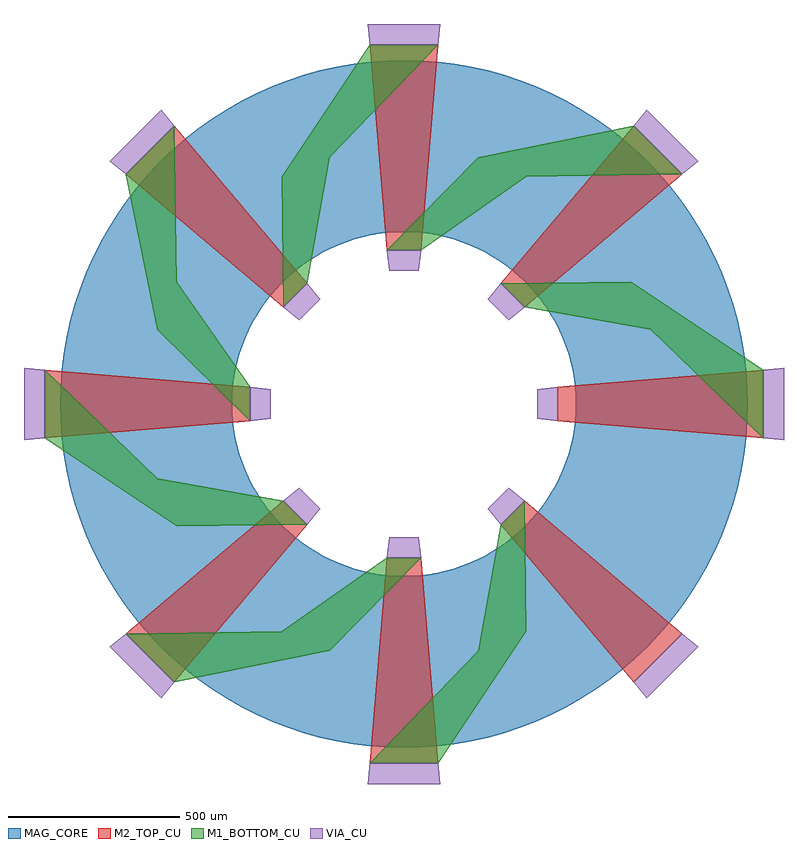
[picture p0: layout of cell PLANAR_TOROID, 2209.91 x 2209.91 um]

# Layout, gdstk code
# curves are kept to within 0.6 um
import gdstk
lib = gdstk.Library(unit=1e-6, precision=1e-09)
def P(c, l, *ps):  # polygons
    for p in ps: c.add(gdstk.Polygon(p, *l))
M1_BOTTOM_CU = (1, 0)
VIA_CU = (2, 0)
M2_TOP_CU = (3, 0)
MAG_CORE = (10, 0)

planar_toroid = lib.new_cell('PLANAR_TOROID')
P(planar_toroid, M1_BOTTOM_CU, [(1045.227,-100),(718.138,216.283),(351.583,280.872),(280.872,351.583),(660.735,354.865),(1045.227,100)],
  [(-447.214,-50),(-718.138,216.283),(-809.798,668.377),(-668.377,809.798),(-660.735,354.865),(-447.214,50)],
  [(-50,447.214),(216.283,718.138),(668.377,809.798),(809.798,668.377),(354.865,660.735),(50,447.214)],
  [(-100,-1045.227),(216.283,-718.138),(280.872,-351.583),(351.583,-280.872),(354.865,-660.735),(100,-1045.227)],
  [(-351.583,280.872),(-354.865,660.735),(-100,1045.227),(100,1045.227),(-216.283,718.138),(-280.872,351.583)],
  [(-660.735,-354.865),(-1045.227,-100),(-1045.227,100),(-718.138,-216.283),(-351.583,-280.872),(-280.872,-351.583)],
  [(-668.377,-809.798),(-809.798,-668.377),(-354.865,-660.735),(-50,-447.214),(50,-447.214),(-216.283,-718.138)])
P(planar_toroid, VIA_CU, [(-43.333,387.585),(-50,447.214),(50,447.214),(43.333,387.585)],
  [(447.214,-50),(387.585,-43.333),(387.585,43.333),(447.214,50)],
  [(-809.798,668.377),(-856.072,706.57),(-706.57,856.072),(-668.377,809.798)],
  [(304.705,243.423),(243.423,304.705),(280.872,351.583),(351.583,280.872)],
  [(1104.955,-105.714),(1045.227,-100),(1045.227,100),(1104.955,105.714)],
  [(809.798,668.377),(668.377,809.798),(706.57,856.072),(856.072,706.57)],
  [(-100,1045.227),(-105.714,1104.955),(105.714,1104.955),(100,1045.227)],
  [(-304.705,243.423),(-351.583,280.872),(-280.872,351.583),(-243.423,304.705)],
  [(-447.214,-50),(-447.214,50),(-387.585,43.333),(-387.585,-43.333)],
  [(-1104.955,-105.714),(-1104.955,105.714),(-1045.227,100),(-1045.227,-100)],
  [(-280.872,-351.583),(-351.583,-280.872),(-304.705,-243.423),(-243.423,-304.705)],
  [(-706.57,-856.072),(-856.072,-706.57),(-809.798,-668.377),(-668.377,-809.798)],
  [(-50,-447.214),(-43.333,-387.585),(43.333,-387.585),(50,-447.214)],
  [(-105.714,-1104.955),(-100,-1045.227),(100,-1045.227),(105.714,-1104.955)],
  [(280.872,-351.583),(243.423,-304.705),(304.705,-243.423),(351.583,-280.872)],
  [(706.57,-856.072),(668.377,-809.798),(809.798,-668.377),(856.072,-706.57)])
P(planar_toroid, M2_TOP_CU, [(-100,-1045.227),(-50,-447.214),(50,-447.214),(100,-1045.227)],
  [(351.583,280.872),(280.872,351.583),(668.377,809.798),(809.798,668.377)],
  [(1045.227,-100),(447.214,-50),(447.214,50),(1045.227,100)],
  [(-351.583,280.872),(-809.798,668.377),(-668.377,809.798),(-280.872,351.583)],
  [(-50,447.214),(-100,1045.227),(100,1045.227),(50,447.214)],
  [(668.377,-809.798),(280.872,-351.583),(351.583,-280.872),(809.798,-668.377)],
  [(-1045.227,-100),(-1045.227,100),(-447.214,50),(-447.214,-50)],
  [(-668.377,-809.798),(-809.798,-668.377),(-351.583,-280.872),(-280.872,-351.583)])
P(planar_toroid, MAG_CORE, [(0,-1000),(-49.068,-998.795),(-98.017,-995.185),(-146.73,-989.177),(-195.09,-980.785),(-242.98,-970.031),(-290.285,-956.94),(-336.89,-941.544),(-382.683,-923.88),(-427.555,-903.989),(-471.397,-881.921),(-514.103,-857.729),(-555.57,-831.47),(-595.699,-803.208),(-634.393,-773.01),(-671.559,-740.951),(-707.107,-707.107),(-740.951,-671.559),(-773.01,-634.393),(-803.208,-595.699),(-831.47,-555.57),(-857.729,-514.103),(-881.921,-471.397),(-903.989,-427.555),(-923.88,-382.683),(-941.544,-336.89),(-956.94,-290.285),(-970.031,-242.98),(-980.785,-195.09),(-989.177,-146.73),(-995.185,-98.017),(-998.795,-49.068),(-1000,0),(-998.795,49.068),(-995.185,98.017),(-989.177,146.73),(-980.785,195.09),(-970.031,242.98),(-956.94,290.285),(-941.544,336.89),(-923.88,382.683),(-903.989,427.555),(-881.921,471.397),(-865.718,500),(0,500),(-24.534,499.398),(-49.009,497.592),(-73.365,494.588),(-97.545,490.393),(-121.49,485.016),(-145.142,478.47),(-168.445,470.772),(-191.342,461.94),(-213.778,451.995),(-235.698,440.961),(-257.051,428.864),(-277.785,415.735),(-297.85,401.604),(-317.197,386.505),(-335.779,370.476),(-353.553,353.553),(-370.476,335.779),(-386.505,317.197),(-401.604,297.85),(-415.735,277.785),(-428.864,257.051),(-440.961,235.698),(-451.995,213.778),(-461.94,191.342),(-470.772,168.445),(-478.47,145.142),(-485.016,121.49),(-490.393,97.545),(-494.588,73.365),(-497.592,49.009),(-499.398,24.534),(-500,0),(-499.398,-24.534),(-497.592,-49.009),(-494.588,-73.365),(-490.393,-97.545),(-485.016,-121.49),(-478.47,-145.142),(-470.772,-168.445),(-461.94,-191.342),(-451.995,-213.778),(-440.961,-235.698),(-428.864,-257.051),(-415.735,-277.785),(-401.604,-297.85),(-386.505,-317.197),(-370.476,-335.779),(-353.553,-353.553),(-335.779,-370.476),(-317.197,-386.505),(-297.85,-401.604),(-277.785,-415.735),(-257.051,-428.864),(-235.698,-440.961),(-213.778,-451.995),(-191.342,-461.94),(-168.445,-470.772),(-145.142,-478.47),(-121.49,-485.016),(-97.545,-490.393),(-73.365,-494.588),(-49.009,-497.592),(-24.534,-499.398),(0,-500),(24.534,-499.398),(49.009,-497.592),(73.365,-494.588),(97.545,-490.393),(121.49,-485.016),(145.142,-478.47),(168.445,-470.772),(191.342,-461.94),(213.778,-451.995),(235.698,-440.961),(257.051,-428.864),(277.785,-415.735),(297.85,-401.604),(317.197,-386.505),(335.779,-370.476),(353.553,-353.553),(370.476,-335.779),(386.505,-317.197),(401.604,-297.85),(415.735,-277.785),(428.864,-257.051),(440.961,-235.698),(451.995,-213.778),(461.94,-191.342),(470.772,-168.445),(478.47,-145.142),(485.016,-121.49),(490.393,-97.545),(494.588,-73.365),(497.592,-49.009),(499.398,-24.534),(500,0),(499.398,24.534),(497.592,49.009),(494.588,73.365),(490.393,97.545),(485.016,121.49),(478.47,145.142),(470.772,168.445),(461.94,191.342),(451.995,213.778),(440.961,235.698),(428.864,257.051),(415.735,277.785),(401.604,297.85),(386.505,317.197),(370.476,335.779),(353.553,353.553),(335.779,370.476),(317.197,386.505),(297.85,401.604),(277.785,415.735),(257.051,428.864),(235.698,440.961),(213.778,451.995),(191.342,461.94),(168.445,470.772),(145.142,478.47),(121.49,485.016),(97.545,490.393),(73.365,494.588),(49.009,497.592),(24.534,499.398),(-865.718,500),(-831.47,555.57),(-803.208,595.699),(-773.01,634.393),(-740.951,671.559),(-707.107,707.107),(-671.559,740.951),(-634.393,773.01),(-595.699,803.208),(-555.57,831.47),(-514.103,857.729),(-471.397,881.921),(-427.555,903.989),(-382.683,923.88),(-336.89,941.544),(-290.285,956.94),(-242.98,970.031),(-195.09,980.785),(-146.73,989.177),(-98.017,995.185),(-49.068,998.795),(0,1000),(49.068,998.795),(98.017,995.185),(146.73,989.177),(195.09,980.785),(242.98,970.031),(290.285,956.94),(336.89,941.544),(382.683,923.88),(427.555,903.989),(471.397,881.921),(514.103,857.729),(555.57,831.47),(595.699,803.208),(634.393,773.01),(671.559,740.951),(707.107,707.107),(740.951,671.559),(773.01,634.393),(803.208,595.699),(831.47,555.57),(857.729,514.103),(881.921,471.397),(903.989,427.555),(923.88,382.683),(941.544,336.89),(956.94,290.285),(970.031,242.98),(980.785,195.09),(989.177,146.73),(995.185,98.017),(998.795,49.068),(1000,0),(998.795,-49.068),(995.185,-98.017),(989.177,-146.73),(980.785,-195.09),(970.031,-242.98),(956.94,-290.285),(941.544,-336.89),(923.88,-382.683),(903.989,-427.555),(881.921,-471.397),(857.729,-514.103),(831.47,-555.57),(803.208,-595.699),(773.01,-634.393),(740.951,-671.559),(707.107,-707.107),(671.559,-740.951),(634.393,-773.01),(595.699,-803.208),(555.57,-831.47),(514.103,-857.729),(471.397,-881.921),(427.555,-903.989),(382.683,-923.88),(336.89,-941.544),(290.285,-956.94),(242.98,-970.031),(195.09,-980.785),(146.73,-989.177),(98.017,-995.185),(49.068,-998.795)])

lib.write_gds('PLANAR_TOROID.gds')
